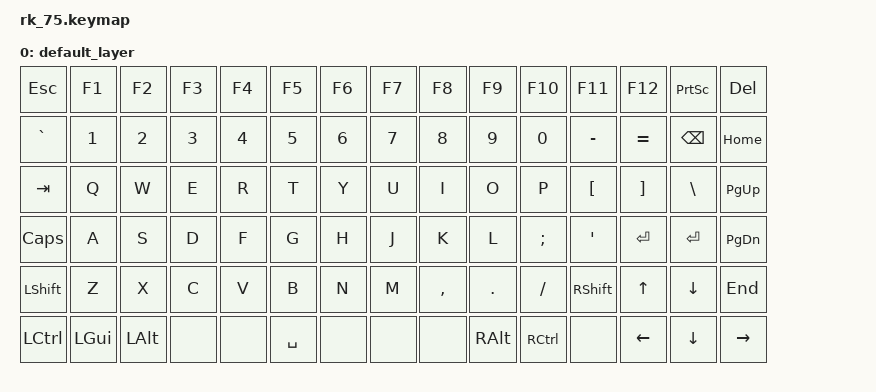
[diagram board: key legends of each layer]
#include <behaviors.dtsi>
#include <dt-bindings/zmk/keys.h>
#include <dt-bindings/zmk/bt.h>

/ {
    keymap {
        compatible = "zmk,keymap";

        // 默认图层
        default_layer {
            // 6 行, 15 列
            bindings = <
    // Col 0     Col 1     Col 2     Col 3     Col 4     Col 5     Col 6     Col 7     Col 8     Col 9     Col 10    Col 11    Col 12    Col 13    Col 14
    &kp ESC     &kp F1    &kp F2    &kp F3    &kp F4    &kp F5    &kp F6    &kp F7    &kp F8    &kp F9    &kp F10   &kp F11   &kp F12   &kp PSCRN &kp DEL    // Row 0
    &kp GRAVE   &kp N1    &kp N2    &kp N3    &kp N4    &kp N5    &kp N6    &kp N7    &kp N8    &kp N9    &kp N0    &kp MINUS &kp EQUAL &kp BSPC  &kp HOME   // Row 1
    &kp TAB     &kp Q     &kp W     &kp E     &kp R     &kp T     &kp Y     &kp U     &kp I     &kp O     &kp P     &kp LBKT  &kp RBKT  &kp BSLH  &kp PG_UP  // Row 2
    &kp CAPS    &kp A     &kp S     &kp D     &kp F     &kp G     &kp H     &kp J     &kp K     &kp L     &kp SEMI  &kp SQT   &kp RET   &kp ENTER &kp PG_DN  // Row 3
    &kp LSHFT   &kp Z     &kp X     &kp C     &kp V     &kp B     &kp N     &kp M     &kp COMMA &kp DOT   &kp FSLH  &kp RSHFT &kp UP    &kp DOWN  &kp END    // Row 4
    &kp LCTRL   &kp LGUI  &kp LALT  &none     &none     &kp SPACE &none     &none     &none     &kp RALT  &kp RCTRL &none     &kp LEFT  &kp DOWN  &kp RIGHT  // Row 5
            >;
        };

        // 在此添加更多图层, 例如:
        // raise_layer {
        //     bindings = < ... >;
        // };
    };
};
